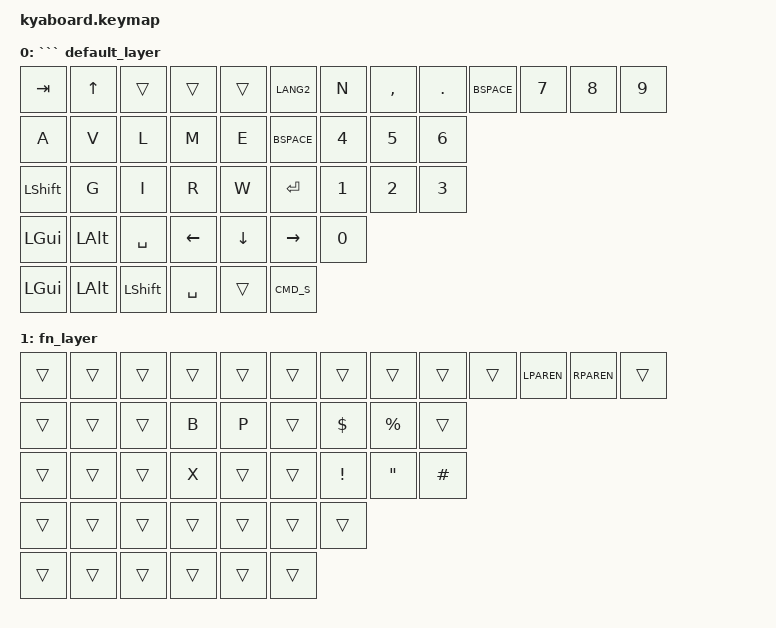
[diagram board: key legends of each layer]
// kyaboard.keymap

\#include \<dt-bindings/zmk/keys.h>

/ { keymap { compatible = "zmk,keymap";

```
    default_layer {
        bindings = <
            // 1段目
            &kp TAB &kp UP &trans &trans &trans &kp LANG2 &kp N &kp COMMA &kp DOT &kp BSPACE &kp N7 &kp N8 &kp N9
            // 2段目
            &kp A &kp V &kp L &kp M &kp E &kp BSPACE &kp N4 &kp N5 &kp N6
            // 3段目
            &kp LSHIFT &kp G &kp I &kp R &kp W &kp ENTER &kp N1 &kp N2 &kp N3
            // 4段目
            &kp LGUI &kp LALT &kp SPACE &kp LEFT &kp DOWN &kp RIGHT &kp N0
            // 5段目 (特殊キー)
            &kp LGUI &kp LALT &kp LSHIFT &kp SPACE &trans &kp CMD_S
        >;
    };

    fn_layer {
        bindings = <
            // 1段目
            &trans &trans &trans &trans &trans &trans &trans &trans &trans &trans &kp LPAREN &kp RPAREN &trans
            // 2段目
            &trans &trans &trans &kp B &kp P &trans &kp DLLR &kp PRCNT &trans
            // 3段目
            &trans &trans &trans &kp X &trans &trans &kp EXCL &kp DQT &kp HASH
            // 4段目
            &trans &trans &trans &trans &trans &trans &trans
            // 5段目 (特殊キー)
            &trans &trans &trans &trans &trans &trans
        >;
    };
};
```

};

